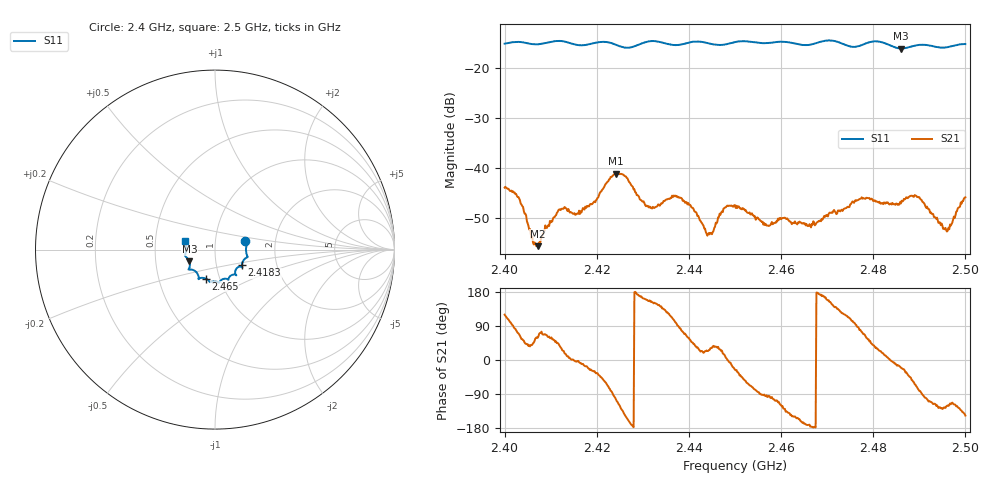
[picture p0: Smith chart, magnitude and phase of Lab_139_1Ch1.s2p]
# Hz S RI R 50
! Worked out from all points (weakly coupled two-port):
!   601 points, 2.4 GHz to 2.5 GHz, reference 50 ohm
!   highest |S21| = -41.15 dB at 2.4242 GHz (marker M1); lowest = -55.7 dB at 2.4072 GHz (marker M2)
!   lowest |S11| = -16.1 dB at 2.486 GHz (marker M3), VSWR 1.37, Z = 37.2 - j4.94 ohm
!   |S11| at or under -10 dB: start of sweep to end of sweep
!   S12 and S22 are empty: the file has one direction only
!   S11 on the Smith chart (normalised r, x): 2.4 GHz: 1.40, +0.13; 2.4183 GHz: 1.33, -0.24; 2.465 GHz: 0.86, -0.28; 2.5 GHz: 0.71, +0.07
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2.4e9  0.1688 0.0465  -0.00312 0.0055  0 0  0 0
2.402833e9  0.1795 0.0338  0.0016 0.00483  0 0  0 0
2.407167e9  0.1727 -0.00531  0.00086 0.00139  0 0  0 0
2.412e9  0.1821 -0.0414  0.00308 0.00227  0 0  0 0
2.416667e9  0.1546 -0.0678  0.0035 -0.000647  0 0  0 0
2.418333e9  0.1496 -0.0868  0.00377 -0.00161  0 0  0 0
2.424167e9  0.1417 -0.0951  -0.00215 -0.00849  0 0  0 0
2.430833e9  0.1161 -0.1414  -0.00389 0.00153  0 0  0 0
2.433333e9  0.1177 -0.1411  -0.0035 0.00248  0 0  0 0
2.438e9  0.0827 -0.1495  0.000546 0.00501  0 0  0 0
2.4445e9  0.0656 -0.163  0.00192 0.000964  0 0  0 0
2.448e9  0.036 -0.1688  0.00399 0.000438  0 0  0 0
2.45e9  0.0256 -0.1799  0.00381 -0.00182  0 0  0 0
2.457e9  -0.00948 -0.1775  -0.000348 -0.00261  0 0  0 0
2.465e9  -0.0525 -0.1613  -0.00268 -0.000566  0 0  0 0
2.466667e9  -0.0713 -0.1572  -0.00273 -0.000169  0 0  0 0
2.477333e9  -0.1254 -0.1124  0.00113 0.00479  0 0  0 0
2.483333e9  -0.1411 -0.0967  0.00436 0.000277  0 0  0 0
2.486e9  -0.1427 -0.0647  0.00412 -0.00153  0 0  0 0
2.4895e9  -0.1646 -0.0386  0.00162 -0.00483  0 0  0 0
2.496e9  -0.1604 0.0159  -0.00118 -0.00197  0 0  0 0
2.5e9  -0.1671 0.0469  -0.00422 -0.00278  0 0  0 0
